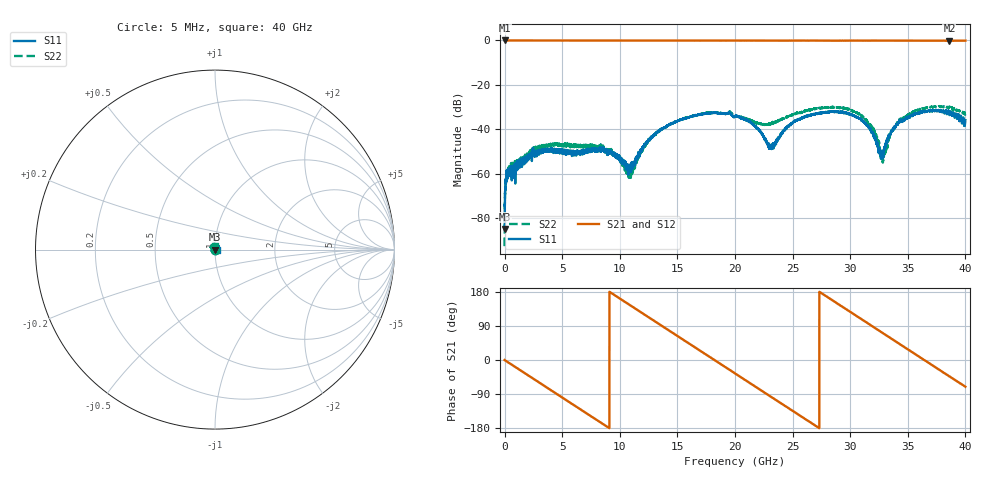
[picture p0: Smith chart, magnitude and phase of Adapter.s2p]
! C:\LeCroy\SPARQ\SPARQ\Adapters\Cached_8000_40000000_Adaptor.s2p
! Thu May 13 15:43:22 2010
! freq S11 S21
! S12 S22
# MHz S MA R 50.00
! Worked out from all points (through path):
!   8000 points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, 5 MHz to 40 GHz, reference 50 ohm
!   highest |S21| = 0.00 dB at 5 MHz (marker M1); lowest = -0.1 dB at 38.62 GHz (marker M2)
!   group delay of S21, straight-line fit = 54.9 ps
!   lowest |S11| = -85.0 dB at 5 MHz (marker M3), VSWR 1.00, Z = 50 + j0.0054 ohm
!   |S11| at or under -10 dB: start of sweep to end of sweep
!   |S22| runs from -92.8 to -29.6 dB; largest |S21 - S12| = 0.008
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5  5.6e-05 105.3  1 -0.1  0.9999 -0.0  2.3e-05 27.9
360  0.001261 59.6  0.9992 -7.1  0.9992 -7.1  0.001372 47.0
2380  0.002232 13.5  0.9989 -47.1  0.9982 -47.0  0.003258 4.6
4530  0.003501 22.9  0.9975 -89.6  0.9973 -89.6  0.004707 -52.9
6675  0.003202 32.1  0.9967 -132.0  0.9964 -132.0  0.00415 -125.7
8820  0.003295 29.3  0.9962 -174.4  0.9966 -174.4  0.003534 157.5
10915  0.001114 -76.2  0.9957 144.2  0.9958 144.2  0.000966 171.1
13340  0.008825 170.3  0.9955 96.3  0.9948 96.3  0.008703 -168.8
15065  0.01557 134.5  0.995 62.2  0.994 62.2  0.01546 155.8
17020  0.02166 98.4  0.9952 23.6  0.9937 23.6  0.02191 114.6
20005  0.01975 42.5  0.9937 -35.4  0.994 -35.3  0.01922 41.7
23160  0.003883 66.3  0.9932 -97.8  0.993 -97.7  0.01354 -99.9
26670  0.02135 76.3  0.9947 -167.1  0.9916 -167.1  0.028 138.0
28465  0.02515 45.4  0.9933 157.3  0.9928 157.5  0.03138 95.0
30405  0.01963 11.8  0.9916 119.2  0.9924 119.0  0.02471 49.0
31940  0.00839 -31.3  0.992 88.6  0.9929 88.7  0.01083 10.0
32765  0.002845 -122.4  0.9939 72.4  0.9921 72.4  0.002423 -53.9
33335  0.006977 161.6  0.9946 61.2  0.9932 61.2  0.006407 -162.8
34205  0.01467 129.8  0.9918 44.0  0.9908 44.0  0.01447 170.7
36055  0.02348 86.1  0.9892 7.3  0.9907 7.4  0.02861 133.7
38615  0.02126 37.5  0.9842 -43.3  0.9852 -43.3  0.032 94.1
40000  0.01592 -7.5  0.9916 -70.5  0.9925 -70.5  0.02174 83.9
